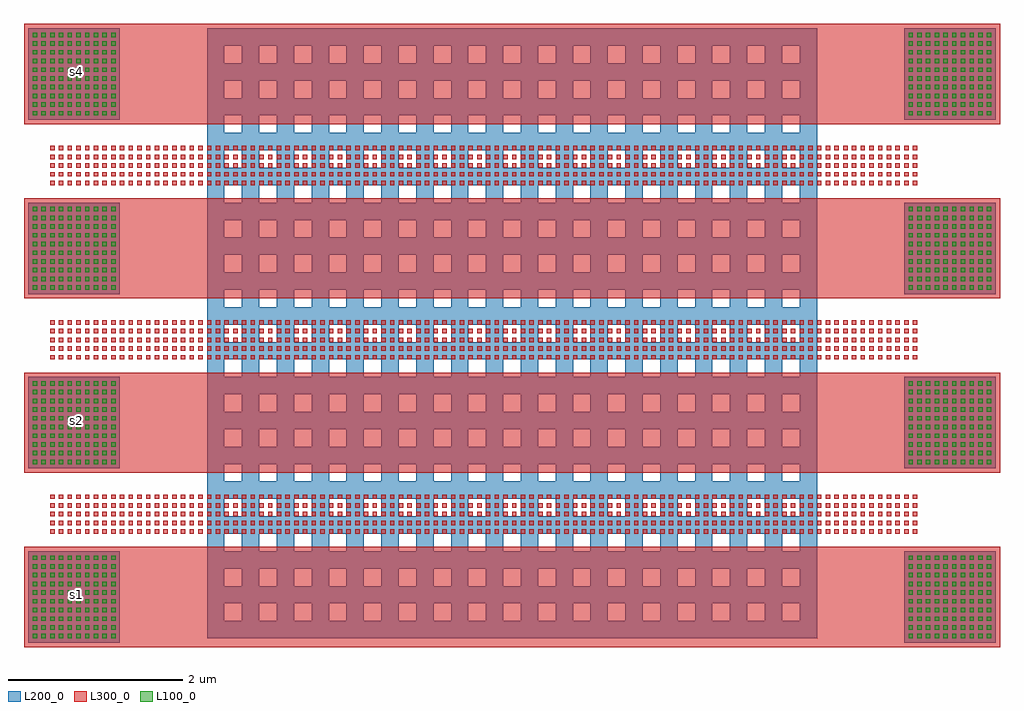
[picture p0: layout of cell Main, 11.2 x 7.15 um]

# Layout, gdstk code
import gdstk
lib = gdstk.Library(unit=1e-6, precision=1e-09)
def R(c, l, rs):  # rectangles x0, y0, x1, y1
    for r in rs: c.add(gdstk.rectangle(r[:2], r[2:], *l))
def A(c, l, x, y, w, h, nx, ny, dx, dy):  # array of equal rectangles
    R(c, l, [(x+i*dx, y+j*dy, x+i*dx+w, y+j*dy+h) for i in range(nx) for j in range(ny)])
L100_0 = (100, 0)
L200_0 = (200, 0)
L300_0 = (300, 0)

square_array = lib.new_cell('SQUARE_ARRAY')
A(square_array, L100_0, 0, 0, 0.05, 0.05, 10, 10, 0.1, 0.1)

line = lib.new_cell('line')
R(line, L200_0, [(-0.05,-0.05,1,1), (10,-0.05,11.05,1)])
R(line, L300_0, [(-0.1,-0.1,11.1,1.05)])
line.add(gdstk.Reference(square_array, (0,0)))
line.add(gdstk.Reference(square_array, (10.05,0)))

main = lib.new_cell('Main')
A(main, L200_0, 2, 0, 0.2, 7, 18, 1, 0.4, 0)
A(main, L200_0, 2, 0, 7, 0.2, 1, 18, 0, 0.4)
A(main, L300_0, 0.2, 1.2, 0.05, 0.05, 100, 5, 0.1, 0.1)
A(main, L300_0, 0.2, 3.2, 0.05, 0.05, 100, 5, 0.1, 0.1)
A(main, L300_0, 0.2, 5.2, 0.05, 0.05, 100, 5, 0.1, 0.1)
main.add(gdstk.Reference(line, (0,0)))
main.add(gdstk.Reference(line, (0,2)))
main.add(gdstk.Reference(line, (0,4)))
main.add(gdstk.Reference(line, (0,6)))
main.add(gdstk.Label('s1', (0.5,0.5), layer=200, texttype=20))
main.add(gdstk.Label('s2', (0.5,2.5), layer=200, texttype=20))
main.add(gdstk.Label('s4', (0.5,6.5), layer=200, texttype=20))

lib.write_gds('Main.gds')
